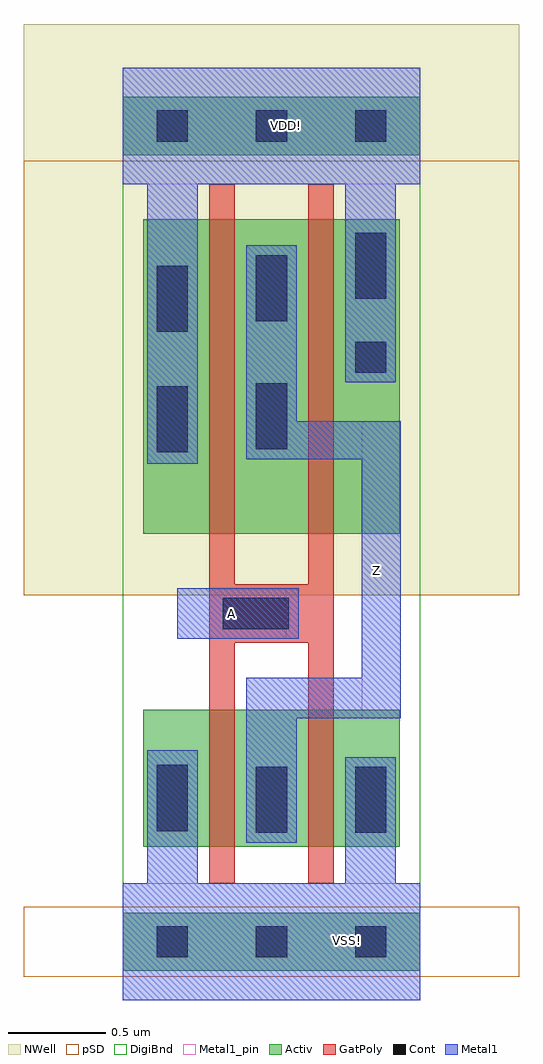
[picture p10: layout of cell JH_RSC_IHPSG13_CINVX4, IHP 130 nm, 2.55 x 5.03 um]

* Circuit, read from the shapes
.subckt JH_RSC_IHPSG13_CINVX4 A VDD! VSS! Z
XM1 Z A VSS! VSS! sg13_lv_nmos w=0.705u l=0.13u m=2
XM2 Z A VDD! VDD! sg13_lv_pmos w=1.62u l=0.13u m=2
.ends

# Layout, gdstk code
import gdstk
lib = gdstk.Library(unit=1e-6, precision=1e-09)
def R(c, l, rs):  # rectangles x0, y0, x1, y1
    for r in rs: c.add(gdstk.rectangle(r[:2], r[2:], *l))
def A(c, l, x, y, w, h, nx, ny, dx, dy):  # array of equal rectangles
    R(c, l, [(x+i*dx, y+j*dy, x+i*dx+w, y+j*dy+h) for i in range(nx) for j in range(ny)])
def P(c, l, *ps):  # polygons
    for p in ps: c.add(gdstk.Polygon(p, *l))
Activ = (1, 0)
GatPoly = (5, 0)
Cont = (6, 0)
Metal1 = (8, 0)
Metal1_pin = (8, 2)
pSD = (14, 0)
DigiBnd = (16, 0)
NWell = (31, 0)

jh_rsc_ihpsg13_cinvx4 = lib.new_cell('JH_RSC_IHPSG13_CINVX4')
R(jh_rsc_ihpsg13_cinvx4, Activ, [(0,-0.15,1.53,0.15), (0.105,0.49,1.425,1.195), (0.105,2.1,1.425,3.72), (0,4.05,1.53,4.35)])
P(jh_rsc_ihpsg13_cinvx4, GatPoly, [(0.445,0.3),(0.445,3.9),(0.575,3.9),(0.575,1.84),(0.955,1.84),(0.955,3.9),(1.085,3.9),(1.085,0.3),(0.955,0.3),(0.955,1.54),(0.575,1.54),(0.575,0.3)])
A(jh_rsc_ihpsg13_cinvx4, Cont, 0.175, -0.08, 0.16, 0.16, 3, 2, 0.51, 4.2)
R(jh_rsc_ihpsg13_cinvx4, Cont, [(0.685,0.56,0.845,0.9), (1.195,0.56,1.355,0.9), (0.175,0.57,0.335,0.91), (0.515,1.61,0.855,1.77), (0.175,2.52,0.335,2.86), (0.685,2.535,0.845,2.875), (1.195,2.93,1.355,3.09), (0.175,3.14,0.335,3.48), (0.685,3.195,0.845,3.535), (1.195,3.31,1.355,3.65)])
R(jh_rsc_ihpsg13_cinvx4, Metal1, [(0.28,1.56,0.905,1.82)])
P(jh_rsc_ihpsg13_cinvx4, Metal1, [(0.635,0.51),(0.635,1.36),(1.23,1.36),(1.23,2.485),(0.635,2.485),(0.635,3.585),(0.895,3.585),(0.895,2.68),(1.43,2.68),(1.43,1.15),(0.895,1.15),(0.895,0.51)],
  [(0,-0.3),(0,0.3),(0.125,0.3),(0.125,0.985),(0.385,0.985),(0.385,0.3),(1.145,0.3),(1.145,0.95),(1.405,0.95),(1.405,0.3),(1.53,0.3),(1.53,-0.3)],
  [(0.125,2.46),(0.125,3.9),(0,3.9),(0,4.5),(1.53,4.5),(1.53,3.9),(1.405,3.9),(1.405,2.88),(1.145,2.88),(1.145,3.9),(0.385,3.9),(0.385,2.46)])
R(jh_rsc_ihpsg13_cinvx4, Metal1_pin, [(0,-0.3,1.53,0.3), (1.23,1.15,1.43,2.68), (0.28,1.56,0.84,1.82), (0,3.9,1.53,4.5)])
R(jh_rsc_ihpsg13_cinvx4, pSD, [(-0.51,-0.18,2.04,0.18), (-0.51,1.785,2.04,4.02)])
R(jh_rsc_ihpsg13_cinvx4, DigiBnd, [(0,-0.3,1.53,4.5)])
R(jh_rsc_ihpsg13_cinvx4, NWell, [(-0.51,1.785,2.04,4.725)])
jh_rsc_ihpsg13_cinvx4.add(gdstk.Label('Z', (1.305,1.91), layer=8, texttype=2))
jh_rsc_ihpsg13_cinvx4.add(gdstk.Label('A', (0.56,1.69), layer=8, texttype=2))
jh_rsc_ihpsg13_cinvx4.add(gdstk.Label('VSS!', (1.155,0.005), layer=8, texttype=2))
jh_rsc_ihpsg13_cinvx4.add(gdstk.Label('VDD!', (0.84,4.2), layer=8, texttype=2))

lib.write_gds('JH_RSC_IHPSG13_CINVX4.gds')
